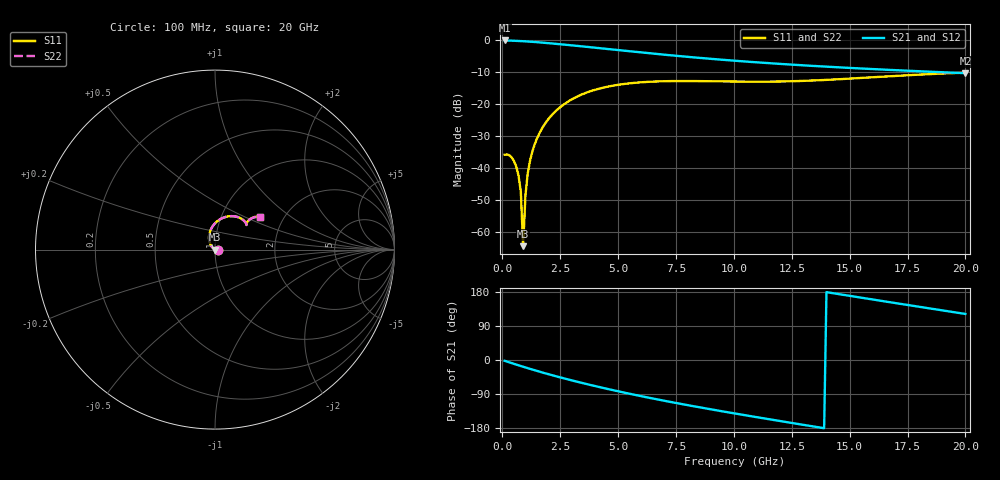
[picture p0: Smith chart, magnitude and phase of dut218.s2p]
! Touchstone file exported from HFSS 2024.1.0
!  File:  C:/UserFiles/LocalFiles/RDL_TSV_Batchsim/temp_RDL_TSV_218_1779448210.aedt
!  Generated:  07:21:48 PM May 22, 2026
!  Design:  RDL_TSV
!  Project:  temp_RDL_TSV_218_1779448210
!  Setup:  Setup1
!  Solution:  Sweep
! Variables:
!  dtsv = 9.71um
!  hbump = 3um
!  htsv = 78.02um
!  ldown = 513.38um
!  lrdl = 494.43um
!  p = 40
!  p1 = 49.5um
!  rhole = 10um
!  subl = 3517.86um
!  t = 450um
!  tdown = 2.36um
!  trdl = 4.05um
!  viad = 10um
!  wdown = 28.6um
!  wrdl = 24.34um
!  xbump = 18um
# GHz S MA R 50.000000
! Terminal data exported
! Port[1] = TM1_1_T1
! Port[2] = TM1_4_T1
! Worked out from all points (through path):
!   200 points, 100 MHz to 20 GHz, reference 50 ohm
!   highest |S21| = -0.15 dB at 100 MHz (marker M1); lowest = -10.4 dB at 20 GHz (marker M2)
!   group delay of S21, straight-line fit = 31.4 ps
!   lowest |S11| = -64.5 dB at 900 MHz (marker M3), VSWR 1.00, Z = 50.1 + j0.0183 ohm
!   |S11| at or under -10 dB: start of sweep to end of sweep
!   |S22| runs from -64.4 to -10.2 dB; largest |S21 - S12| = 1.8e-14
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0.1  0.01601 1.0  0.9834 -2.1  0.9834 -2.1  0.01601 1.0
! Gamma 0 0 0 0
! Port Impedance 50 0 50 0
0.4  0.01464 -5.8  0.9764 -8.1  0.9764 -8.1  0.01464 -5.8
0.6  0.01049 -12.3  0.9698 -12.1  0.9698 -12.1  0.01049 -12.3
0.7  0.007592 -14.9  0.966 -14.0  0.966 -14.0  0.0076 -14.9
0.8  0.004238 -15.9  0.9618 -15.9  0.9618 -15.9  0.004248 -15.9
0.9  0.0005938 17.9  0.9573 -17.8  0.9573 -17.8  0.0006039 17.1
1  0.003745 145.9  0.9525 -19.7  0.9525 -19.7  0.003728 145.9
1.1  0.008233 146.1  0.9474 -21.6  0.9474 -21.6  0.008211 146.1
1.2  0.01303 144.1  0.942 -23.4  0.942 -23.4  0.01301 144.0
1.3  0.0181 141.5  0.9364 -25.3  0.9364 -25.3  0.01807 141.5
1.5  0.02891 136.2  0.9245 -28.9  0.9245 -28.9  0.02887 136.2
1.8  0.04633 128.2  0.9055 -34.2  0.9055 -34.2  0.04627 128.2
2.3  0.07671 115.8  0.8722 -42.6  0.8722 -42.6  0.07662 115.8
2.8  0.1064 104.7  0.8383 -50.7  0.8383 -50.7  0.1063 104.6
3.5  0.1437 91.0  0.7912 -61.4  0.7912 -61.4  0.1435 91.0
4.9  0.1963 69.7  0.7021 -81.2  0.7021 -81.2  0.1961 69.7
6.8  0.2254 50.9  0.5985 -105.3  0.5985 -105.3  0.2253 50.8
8.4  0.2276 42.1  0.5293 -123.6  0.5293 -123.6  0.2276 42.0
10.1  0.2234 38.4  0.4718 -141.7  0.4718 -141.7  0.2235 38.3
13.4  0.2322 40.1  0.3934 -175.1  0.3934 -175.1  0.232 39.9
16.7  0.2703 40.7  0.3407 152.9  0.3407 152.9  0.2697 40.4
20  0.3089 36.2  0.3026 121.5  0.3026 121.5  0.3076 36.0
